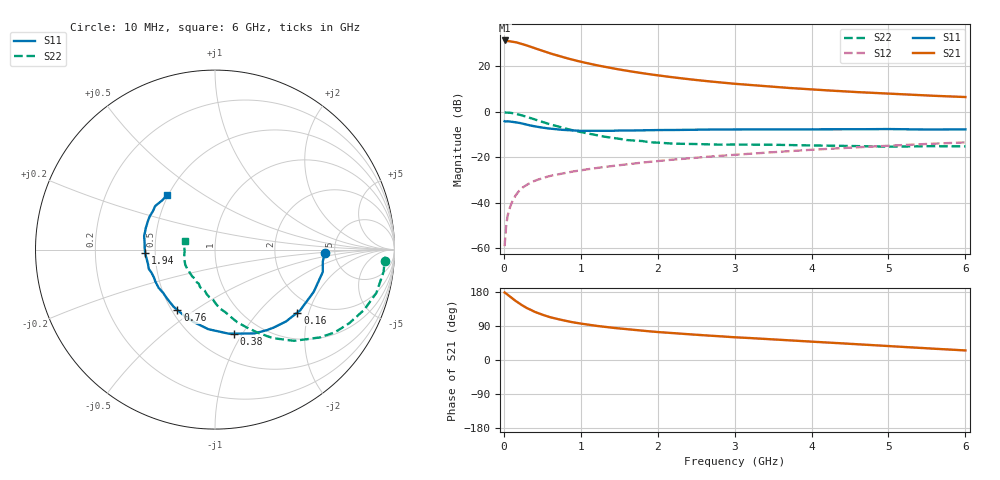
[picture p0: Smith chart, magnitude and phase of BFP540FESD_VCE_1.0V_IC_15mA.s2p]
! Infineon Technologies  Discrete & RF Semiconductors
! BFP540FESD
! VCE =  1.0 V,  IC =  15 mA
! Common Emitter S-Parameters:  Nov 2015
# GHz  S  MA  R  50
!  f  S11  S21  S12  S22
! GHz  MAG  ANG  MAG  ANG  MAG  ANG  MAG  ANG
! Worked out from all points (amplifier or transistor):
!   210 points, 10 MHz to 6 GHz, reference 50 ohm
!   highest |S21| = 31.2 dB at 10 MHz (marker M1)
!   |S21| within 3 dB of that: start of sweep to 366.5 MHz
!   unconditionally stable (mu >= 1): 1.881 GHz to end of sweep
!   at 185 MHz: K = 0.23, MSG = 32.8 dB, |S12| = -35.4 dB
!   at 1.52 GHz: K = 0.93, MSG = 20.9 dB, |S12| = -23.5 dB
!   at 6 GHz: K = 1.18, MAG = 7.4 dB, |S12| = -13.6 dB
!   S11 on the Smith chart (normalised r, x): 10 MHz: 4.14, -0.23; 160 MHz: 1.60, -1.69; 380 MHz: 0.76, -0.92; 760 MHz: 0.53, -0.43; 1.94 GHz: 0.44, -0.02; 6 GHz: 0.49, +0.36
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0.01  0.6118 -1.6  36.43 178.1  0.0011 89.0  0.9495 -3.9
0.02  0.6042 -6.3  35.25 176.9  0.0019 88.1  0.9477 -2.7
0.05  0.6133 -11.8  35.49 172.1  0.0052 82.9  0.9474 -7.4
0.1  0.5982 -23.2  34.66 164.0  0.0097 82.2  0.9311 -15.0
0.16  0.5775 -37.4  33.21 155.0  0.0149 74.1  0.8868 -23.3
0.2  0.563 -45.3  31.83 149.2  0.0181 72.7  0.8533 -28.7
0.26  0.5343 -57.0  29.66 141.8  0.0223 68.0  0.8004 -35.7
0.3  0.5161 -64.8  28.23 137.0  0.0246 66.4  0.7619 -40.0
0.38  0.4801 -77.2  25.34 129.4  0.0289 63.5  0.6886 -47.1
0.5  0.445 -94.8  21.66 119.3  0.0343 59.6  0.5907 -56.7
0.6  0.421 -106.2  18.98 113.0  0.0383 58.2  0.5237 -62.5
0.76  0.3961 -122.0  15.83 105.3  0.0435 56.5  0.4419 -70.6
0.9  0.3836 -133.2  13.63 99.4  0.0481 55.5  0.3849 -76.9
1.02  0.3767 -141.0  12.2 95.5  0.0517 55.7  0.348 -81.6
1.4  0.3766 -160.1  9.004 85.3  0.0632 55.0  0.2665 -96.9
1.94  0.3894 -177.5  6.435 74.9  0.0798 53.7  0.2095 -116.8
2.02  0.3915 179.9  6.166 73.5  0.082 53.5  0.2069 -119.7
2.6  0.4022 169.0  4.722 65.2  0.0998 51.8  0.1909 -137.8
3.1  0.4041 161.7  3.949 59.0  0.115 49.7  0.1876 -146.4
4.1  0.4076 152.2  2.985 47.3  0.1476 44.5  0.1788 -162.7
5.1  0.4097 142.5  2.425 35.6  0.1806 37.1  0.1698 -179.0
6  0.4057 131.0  2.081 25.2  0.21 30.2  0.1721 164.1
